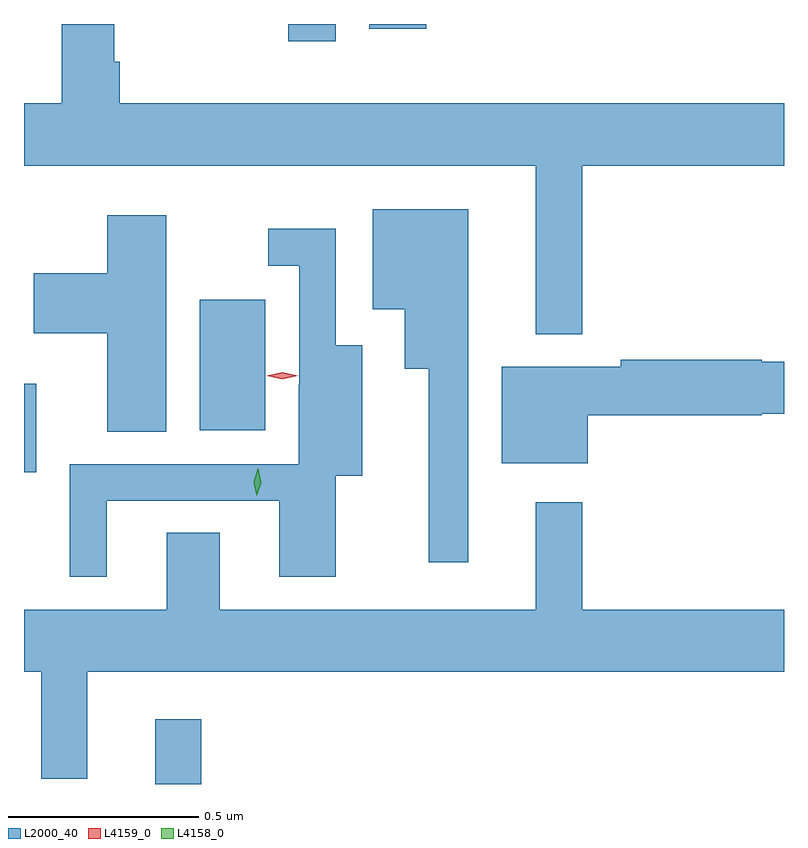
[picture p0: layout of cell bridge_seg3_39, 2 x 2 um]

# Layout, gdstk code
import gdstk
lib = gdstk.Library(unit=1e-6, precision=1e-09)
def R(c, l, rs):  # rectangles x0, y0, x1, y1
    for r in rs: c.add(gdstk.rectangle(r[:2], r[2:], *l))
def P(c, l, *ps):  # polygons
    for p in ps: c.add(gdstk.Polygon(p, *l))
L2000_40 = (2000, 40)
L4158_0 = (4158, 0)
L4159_0 = (4159, 0)

bridge_seg3_39 = lib.new_cell('bridge_seg3_39')
R(bridge_seg3_39, L2000_40, [(708.689,672.649,708.811,672.82), (708.344,673.469,708.376,673.702), (708.806,673.58,708.979,673.924), (709.04,674.604,709.165,674.649), (709.253,674.637,709.402,674.649)])
P(bridge_seg3_39, L2000_40, [(709.813,674.276),(710.344,674.276),(710.344,674.44),(708.596,674.44),(708.596,674.55),(708.582,674.55),(708.582,674.649),(708.443,674.649),(708.443,674.44),(708.344,674.44),(708.344,674.276),(709.691,674.276),(709.691,673.832),(709.813,673.832)],
  [(709.513,674.161),(709.262,674.161),(709.262,673.898),(709.346,673.898),(709.346,673.742),(709.409,673.742),(709.409,673.233),(709.513,673.233)],
  [(708.718,674.146),(708.563,674.146),(708.563,673.993),(708.37,673.993),(708.37,673.835),(708.563,673.835),(708.563,673.576),(708.718,673.576)],
  [(708.562,673.395),(709.016,673.395),(709.016,673.194),(709.165,673.194),(709.165,673.46),(709.234,673.46),(709.234,673.804),(709.164,673.804),(709.164,674.11),(708.987,674.11),(708.987,674.013),(709.068,674.013),(709.068,673.7),(709.067,673.7),(709.067,673.491),(708.464,673.491),(708.464,673.194),(708.562,673.194)],
  [(709.828,673.619),(710.286,673.619),(710.286,673.624),(710.344,673.624),(710.344,673.76),(710.286,673.76),(710.286,673.766),(709.914,673.766),(709.914,673.747),(709.601,673.747),(709.601,673.493),(709.828,673.493)],
  [(708.511,672.944),(710.344,672.944),(710.344,673.108),(709.813,673.108),(709.813,673.39),(709.691,673.39),(709.691,673.108),(708.859,673.108),(708.859,673.31),(708.719,673.31),(708.719,673.108),(708.344,673.108),(708.344,672.944),(708.39,672.944),(708.39,672.663),(708.511,672.663)])
P(bridge_seg3_39, L4158_0, [(708.956,673.407),(708.948,673.443),(708.959,673.478),(708.959,673.478),(708.96,673.478),(708.968,673.442),(708.957,673.407),(708.957,673.407)])
P(bridge_seg3_39, L4159_0, [(709.024,673.714),(708.983,673.724),(708.982,673.724),(708.983,673.724),(709.024,673.733),(709.065,673.723),(709.065,673.723),(709.065,673.723)])

lib.write_gds('bridge_seg3_39.gds')
